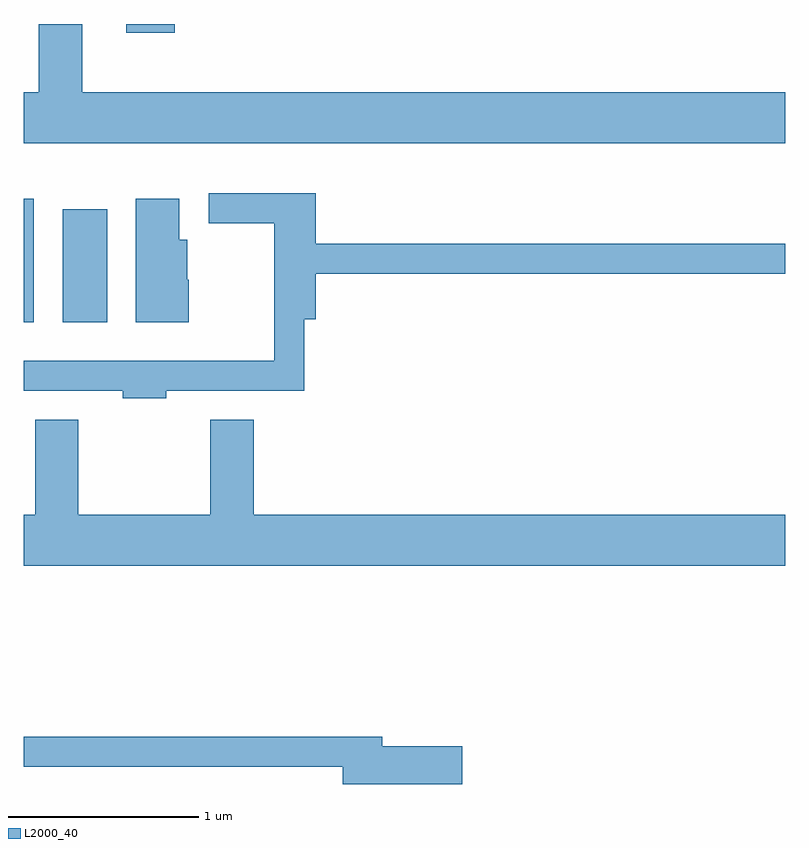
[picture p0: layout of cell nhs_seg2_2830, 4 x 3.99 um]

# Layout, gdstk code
import gdstk
lib = gdstk.Library(unit=1e-6, precision=1e-09)
def R(c, l, rs):  # rectangles x0, y0, x1, y1
    for r in rs: c.add(gdstk.rectangle(r[:2], r[2:], *l))
def P(c, l, *ps):  # polygons
    for p in ps: c.add(gdstk.Polygon(p, *l))
L2000_40 = (2000, 40)

nhs_seg2_2830 = lib.new_cell('nhs_seg2_2830')
R(nhs_seg2_2830, L2000_40, [(267.611,1076.236,267.664,1076.884), (267.816,1076.236,268.049,1076.829), (268.151,1077.756,268.404,1077.802)])
P(nhs_seg2_2830, L2000_40, [(271.611,1077.444),(267.919,1077.444),(267.919,1077.802),(267.691,1077.802),(267.691,1077.444),(267.611,1077.444),(267.611,1077.176),(271.611,1077.176)],
  [(268.359,1075.876),(269.084,1075.876),(269.084,1076.251),(269.144,1076.251),(269.144,1076.491),(271.611,1076.491),(271.611,1076.649),(269.144,1076.649),(269.144,1076.914),(268.583,1076.914),(268.583,1076.756),(268.926,1076.756),(268.926,1076.034),(267.611,1076.034),(267.611,1075.876),(268.131,1075.876),(268.131,1075.836),(268.359,1075.836)],
  [(268.479,1076.46),(268.469,1076.46),(268.469,1076.669),(268.429,1076.669),(268.429,1076.884),(268.201,1076.884),(268.201,1076.236),(268.479,1076.236)],
  [(271.611,1075.224),(268.819,1075.224),(268.819,1075.724),(268.591,1075.724),(268.591,1075.224),(267.899,1075.224),(267.899,1075.724),(267.671,1075.724),(267.671,1075.224),(267.611,1075.224),(267.611,1074.956),(271.611,1074.956)],
  [(269.914,1074.009),(269.494,1074.009),(269.494,1074.059),(267.611,1074.059),(267.611,1073.901),(269.286,1073.901),(269.286,1073.811),(269.914,1073.811)])

lib.write_gds('nhs_seg2_2830.gds')
